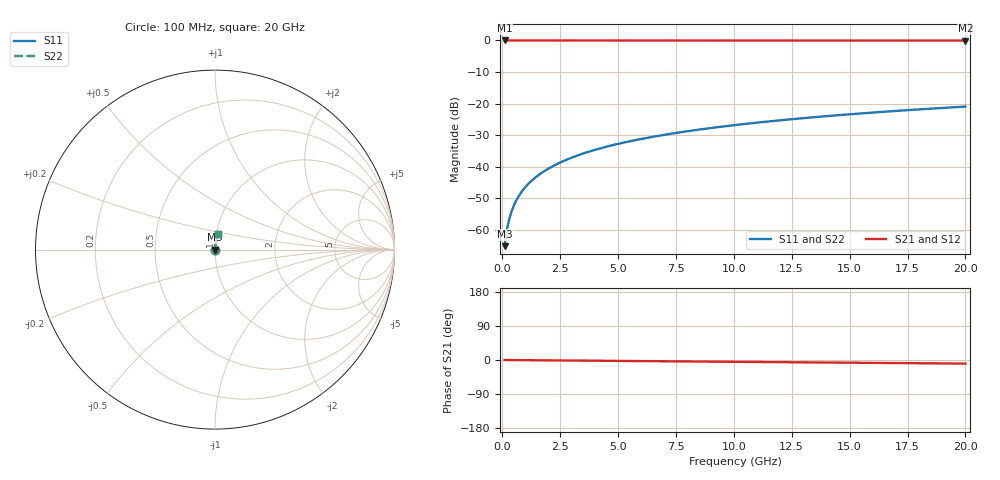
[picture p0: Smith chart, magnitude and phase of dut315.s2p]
! Touchstone file exported from HFSS 2026.1.0
!  File:  C:/ffzhzh/LocalFiles/Ansys_Project_Files/temp_train_TSV_315_1783018233_55676.aedt
!  Generated:  02:52:22 AM Jul  3, 2026
!  Design:  TSV
!  Project:  temp_train_TSV_315_1783018233_55676
! Variables:
!  h_bsmrdl = 2um
!  h_ox = 20um
!  h_rdl = 5um
!  h_sub = 72.54um
!  h_tmrdl = 5um
!  h_tsv = 72.54um
!  h_via = 3um
!  l_bsmrdl = 300um
!  l_sub = 412.06um
!  l_tmrdl = 200um
!  m_sub = 200um
!  pitch = 59.09um
!  r_tsv = 6.03um
!  s_tmrdl = 10um
!  w_bsmrdl = 18um
!  w_sub = 500um
!  w_tmrdl = 12um
!  x_tsv_center1 = 206um
!  x_tsv_center2 = 524um
!  x_tsv_center3 = 736um
!  x_tsv_center4 = 1054um
!  x_tsv_center5 = 1266um
!  x_tsv_center6 = 1584um
# GHz S MA R 50.000000
! Terminal data exported
! Port[1] = TSV1_1_T1
! Port[2] = TSV1_1_T2
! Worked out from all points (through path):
!   200 points, 100 MHz to 20 GHz, reference 50 ohm
!   highest |S21| = 0.00 dB at 100 MHz (marker M1); lowest = 0.0 dB at 20 GHz (marker M2)
!   group delay of S21, straight-line fit = 1.32 ps
!   lowest |S11| = -65.1 dB at 100 MHz (marker M3), VSWR 1.00, Z = 50 + j0.0492 ohm
!   |S11| at or under -10 dB: start of sweep to end of sweep
!   |S22| runs from -65.1 to -20.9 dB; largest |S21 - S12| = 6.6e-15
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0.1  0.0005566 62.0  0.9997 -0.0  0.9997 -0.0  0.0005566 62.0
! Gamma 0 0 0 0
! Port Impedance 50 0 50 0
0.2  0.001018 74.6  0.9997 -0.1  0.9997 -0.1  0.001018 74.6
0.3  0.001496 79.0  0.9997 -0.1  0.9997 -0.1  0.001496 79.0
0.4  0.001975 81.1  0.9997 -0.2  0.9997 -0.2  0.001975 81.1
0.5  0.002453 82.4  0.9997 -0.2  0.9997 -0.2  0.002453 82.4
0.6  0.002927 83.2  0.9997 -0.3  0.9997 -0.3  0.002927 83.2
0.7  0.003399 83.7  0.9996 -0.3  0.9996 -0.3  0.003399 83.7
0.8  0.003869 84.1  0.9996 -0.4  0.9996 -0.4  0.003869 84.1
1  0.004802 84.7  0.9996 -0.5  0.9996 -0.5  0.004802 84.7
1.4  0.006654 85.3  0.9995 -0.7  0.9995 -0.7  0.006654 85.3
1.7  0.008038 85.6  0.9995 -0.8  0.9995 -0.8  0.008038 85.6
2  0.00942 85.8  0.9994 -1.0  0.9994 -1.0  0.00942 85.8
2.7  0.01264 85.9  0.9993 -1.3  0.9993 -1.3  0.01264 85.9
3.5  0.0163 85.9  0.9992 -1.7  0.9992 -1.7  0.0163 85.9
4.2  0.01949 85.7  0.9991 -2.0  0.9991 -2.0  0.01949 85.7
5  0.02312 85.5  0.9989 -2.4  0.9989 -2.4  0.02312 85.5
6.8  0.03125 84.9  0.9985 -3.3  0.9985 -3.3  0.03125 84.9
8.3  0.038 84.4  0.9982 -4.0  0.9982 -4.0  0.038 84.4
10.1  0.04608 83.7  0.9978 -4.8  0.9978 -4.8  0.04608 83.7
13.4  0.0608 82.3  0.9968 -6.4  0.9968 -6.4  0.0608 82.3
16.7  0.07543 80.9  0.9957 -7.9  0.9957 -7.9  0.07543 80.9
20  0.08991 79.4  0.9943 -9.5  0.9943 -9.5  0.08991 79.4
